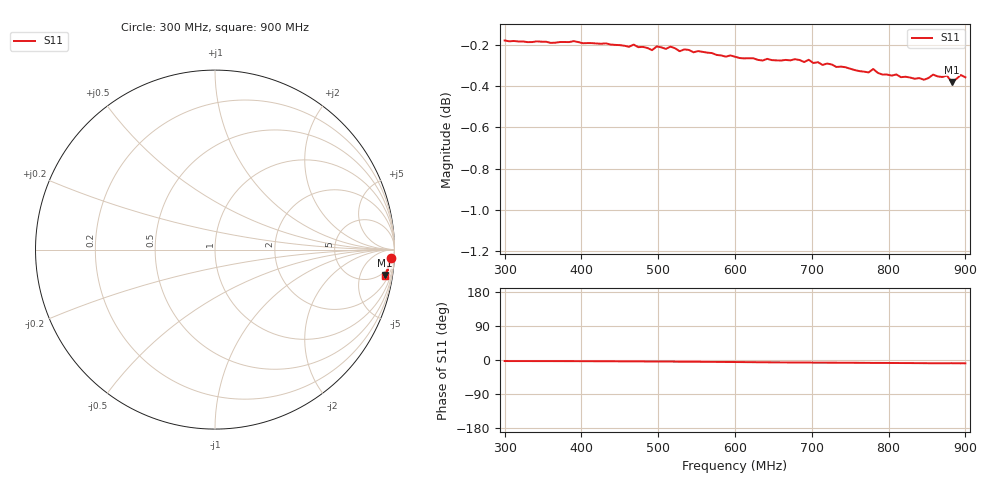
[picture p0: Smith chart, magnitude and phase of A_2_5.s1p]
# HZ S RI R 50
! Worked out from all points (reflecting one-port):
!   101 points, 300 MHz to 900 MHz, reference 50 ohm
!   lowest |S11| = -0.4 dB at 882 MHz (marker M1), VSWR 45.82, Z = 185 - j622 ohm
!   phase of S11 starts at -3 deg and turns -6 deg over the sweep
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3e8  0.9786 -0.047
3.78e8  0.9776 -0.0513
4.5e8  0.9754 -0.0596
4.68e8  0.9755 -0.0623
4.92e8  0.9721 -0.0671
4.98e8  0.9741 -0.0679
5.16e8  0.9738 -0.0709
5.28e8  0.971 -0.0742
6e8  0.9666 -0.0908
6.48e8  0.9633 -0.1053
6.78e8  0.9631 -0.1114
6.9e8  0.9613 -0.1135
6.96e8  0.9626 -0.1129
7.02e8  0.9604 -0.1171
7.14e8  0.9594 -0.1165
7.5e8  0.9565 -0.1231
7.74e8  0.954 -0.1269
7.8e8  0.9555 -0.1298
7.86e8  0.9535 -0.1286
8.28e8  0.9501 -0.1349
8.52e8  0.9488 -0.1419
8.58e8  0.9506 -0.1422
8.7e8  0.9491 -0.1441
8.76e8  0.95 -0.1429
8.82e8  0.9469 -0.1407
8.88e8  0.9478 -0.1448
8.94e8  0.9498 -0.1465
9e8  0.9486 -0.1458
